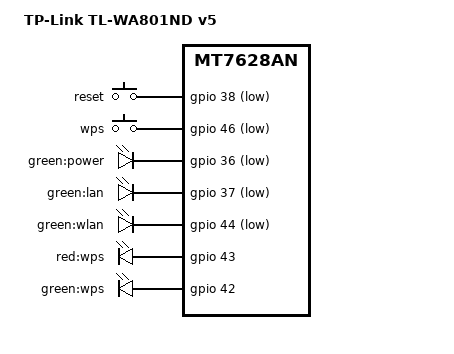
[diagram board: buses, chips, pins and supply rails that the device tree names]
#include "mt7628an_tplink_8m.dtsi"

/ {
	compatible = "tplink,tl-wa801nd-v5", "mediatek,mt7628an-soc";
	model = "TP-Link TL-WA801ND v5";

	aliases {
		led-boot = &led_power;
		led-failsafe = &led_power;
		led-running = &led_power;
		led-upgrade = &led_power;
	};

	keys {
		compatible = "gpio-keys";

		reset {
			label = "reset";
			gpios = <&gpio 38 GPIO_ACTIVE_LOW>;
			linux,code = <KEY_RESTART>;
		};

		wps {
			label = "wps";
			gpios = <&gpio 46 GPIO_ACTIVE_LOW>;
			linux,code = <KEY_WPS_BUTTON>;
		};
	};

	leds {
		compatible = "gpio-leds";

		led_power: power {
			label = "green:power";
			gpios = <&gpio 36 GPIO_ACTIVE_LOW>;
		};

		lan {
			label = "green:lan";
			gpios = <&gpio 37 GPIO_ACTIVE_LOW>;
		};

		wlan {
			label = "green:wlan";
			gpios = <&gpio 44 GPIO_ACTIVE_LOW>;
			linux,default-trigger = "phy0tpt";
		};

		wps_red {
			label = "red:wps";
			gpios = <&gpio 43 GPIO_ACTIVE_HIGH>;
		};

		wps_green {
			label = "green:wps";
			gpios = <&gpio 42 GPIO_ACTIVE_HIGH>;
		};
	};
};

&ehci {
	status = "disabled";
};

&ohci {
	status = "disabled";
};

&state_default {
	gpio {
		groups = "p0led_an", "p1led_an", "perst", "refclk",
				"uart1", "wdt", "wled_an";
		function = "gpio";
	};
};
